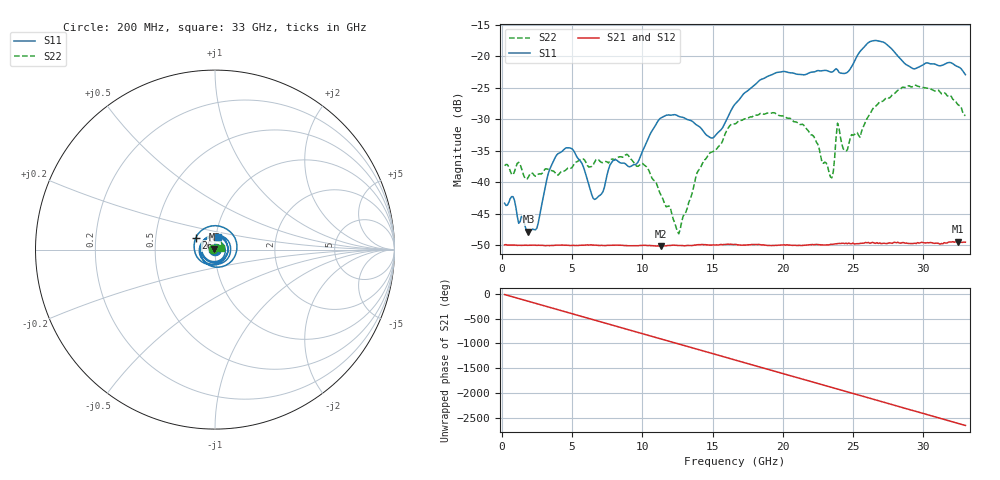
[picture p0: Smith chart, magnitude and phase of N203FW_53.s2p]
# GHZ S RI R 50
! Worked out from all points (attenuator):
!   329 points, 200 MHz to 33 GHz, reference 50 ohm
!   highest |S21| = -49.46 dB at 32.5 GHz (marker M1); lowest = -50.2 dB at 11.3 GHz (marker M2)
!   lowest |S11| = -47.8 dB at 1.9 GHz (marker M3), VSWR 1.01, Z = 49.7 + j0.245 ohm
!   |S11| at or under -10 dB: start of sweep to end of sweep
!   |S22| runs from -48.2 to -24.6 dB; largest |S21 - S12| = 8.7e-05
!   S11 on the Smith chart (normalised r, x): 200 MHz: 1.01, -0.00; 26 GHz: 0.80, +0.11; 33 GHz: 1.03, +0.14
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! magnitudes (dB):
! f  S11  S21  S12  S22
! 200 MHz  -43.4  -50.0  -49.9  -37.4
! 1.9 GHz  -47.8  -50.0  -50.0  -39.2
! 2.5 GHz  -47.3  -50.0  -50.0  -38.9
! 3.9 GHz  -35.7  -50.0  -50.0  -38.8
! 5.7 GHz  -37.0  -50.0  -50.0  -36.3
! 6.7 GHz  -42.6  -50.0  -50.0  -36.4
! 7.9 GHz  -36.6  -50.0  -50.0  -36.3
! 8.9 GHz  -37.3  -50.1  -50.1  -35.6
! 11.2 GHz  -30.1  -50.2  -50.1  -41.4
! 11.3 GHz  -29.8  -50.2  -50.1  -41.9
! 12.6 GHz  -29.6  -50.1  -50.0  -48.2
! 15 GHz  -33.0  -50.0  -50.0  -35.2
! 16.6 GHz  -27.6  -49.9  -49.9  -30.7
! 19.4 GHz  -22.7  -50.1  -50.1  -29.0
! 22.1 GHz  -22.5  -49.9  -49.9  -32.5
! 23.5 GHz  -22.5  -49.9  -49.8  -39.3
! 23.9 GHz  -22.2  -49.8  -49.8  -30.6
! 24.5 GHz  -22.7  -49.7  -49.7  -35.1
! 26 GHz  -18.0  -49.6  -49.6  -29.9
! 27.6 GHz  -18.5  -49.6  -49.7  -26.6
! 32.5 GHz  -21.7  -49.5  -49.4  -27.8
! 33 GHz  -22.9  -49.5  -49.6  -29.4
